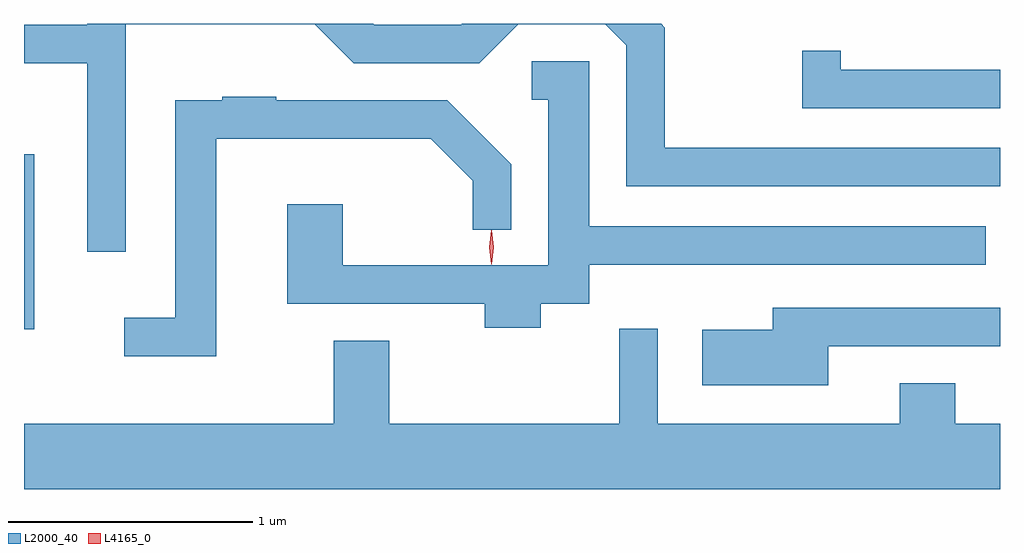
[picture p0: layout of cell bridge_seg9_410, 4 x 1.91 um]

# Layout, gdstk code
import gdstk
lib = gdstk.Library(unit=1e-6, precision=1e-09)
def R(c, l, rs):  # rectangles x0, y0, x1, y1
    for r in rs: c.add(gdstk.rectangle(r[:2], r[2:], *l))
def P(c, l, *ps):  # polygons
    for p in ps: c.add(gdstk.Polygon(p, *l))
L2000_40 = (2000, 40)
L4165_0 = (4165, 0)

bridge_seg9_410 = lib.new_cell('bridge_seg9_410')
R(bridge_seg9_410, L2000_40, [(405.262,2081.271,405.304,2081.989)])
P(bridge_seg9_410, L2000_40, [(405.679,2082.521),(406.454,2082.521),(406.614,2082.361),(407.127,2082.361),(407.287,2082.521),(407.644,2082.521),(407.731,2082.434),(407.731,2081.856),(409.262,2081.856),(409.262,2082.014),(407.889,2082.014),(407.889,2082.507),(407.874,2082.522),(407.057,2082.522),(407.054,2082.519),(406.697,2082.519),(406.694,2082.522),(405.521,2082.522),(405.521,2082.519),(405.262,2082.519),(405.262,2082.361),(405.521,2082.361),(405.521,2081.588),(405.679,2081.588)],
  [(409.262,2082.334),(408.609,2082.334),(408.609,2082.413),(408.451,2082.413),(408.451,2082.176),(409.262,2082.176)],
  [(407.379,2081.376),(407.579,2081.376),(407.579,2081.536),(409.203,2081.536),(409.203,2081.694),(407.579,2081.694),(407.579,2082.369),(407.343,2082.369),(407.343,2082.211),(407.411,2082.211),(407.411,2081.534),(406.569,2081.534),(406.569,2081.784),(406.341,2081.784),(406.341,2081.376),(407.151,2081.376),(407.151,2081.276),(407.379,2081.276)],
  [(406.049,2082.051),(406.929,2082.051),(407.101,2081.879),(407.101,2081.678),(407.259,2081.678),(407.259,2081.947),(406.997,2082.209),(406.295,2082.209),(406.295,2082.224),(406.075,2082.224),(406.075,2082.209),(405.881,2082.209),(405.881,2081.319),(405.673,2081.319),(405.673,2081.161),(406.049,2081.161)],
  [(408.559,2081.201),(409.262,2081.201),(409.262,2081.359),(408.331,2081.359),(408.331,2081.269),(408.041,2081.269),(408.041,2081.041),(408.559,2081.041)],
  [(409.262,2080.884),(409.079,2080.884),(409.079,2081.049),(408.851,2081.049),(408.851,2080.884),(407.859,2080.884),(407.859,2081.273),(407.701,2081.273),(407.701,2080.884),(406.759,2080.884),(406.759,2081.224),(406.531,2081.224),(406.531,2080.884),(405.262,2080.884),(405.262,2080.616),(409.262,2080.616)])
P(bridge_seg9_410, L4165_0, [(407.178,2081.537),(407.177,2081.538),(407.168,2081.607),(407.177,2081.676),(407.178,2081.677),(407.178,2081.676),(407.188,2081.607),(407.178,2081.538)])

lib.write_gds('bridge_seg9_410.gds')
